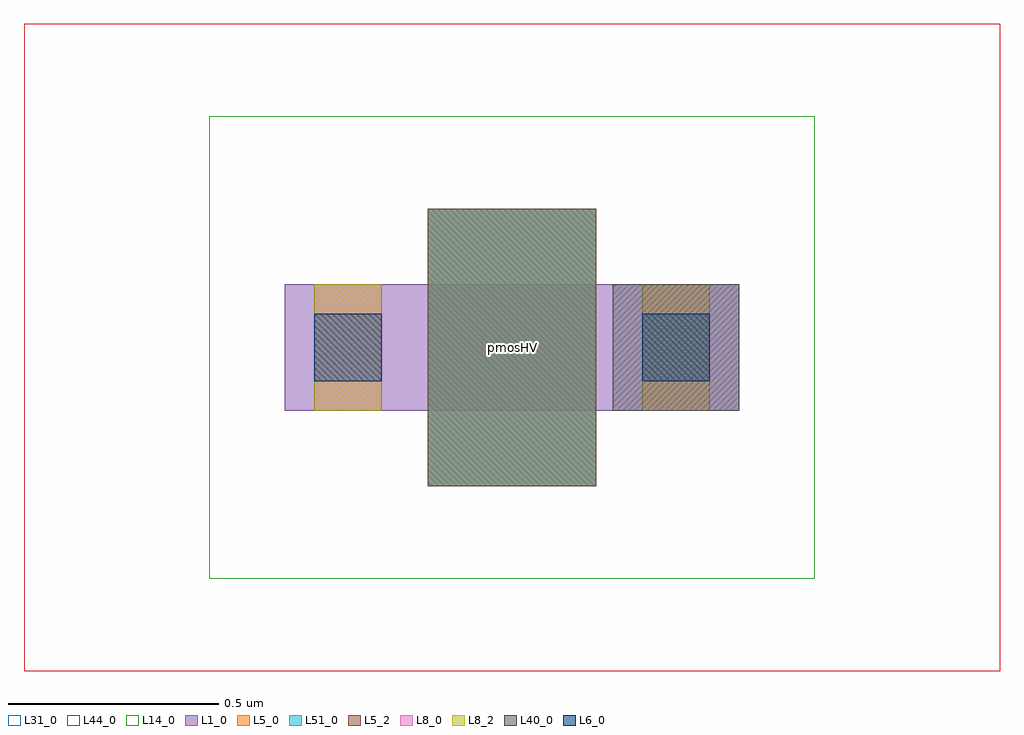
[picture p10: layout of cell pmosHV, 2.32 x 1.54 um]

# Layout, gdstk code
import gdstk
lib = gdstk.Library(unit=1e-6, precision=1e-09)
def R(c, l, rs):  # rectangles x0, y0, x1, y1
    for r in rs: c.add(gdstk.rectangle(r[:2], r[2:], *l))
L1_0 = (1, 0)
L5_0 = (5, 0)
L5_2 = (5, 2)
L6_0 = (6, 0)
L8_0 = (8, 0)
L8_2 = (8, 2)
L14_0 = (14, 0)
L31_0 = (31, 0)
L40_0 = (40, 0)
L44_0 = (44, 0)
L51_0 = (51, 0)

pmoshv = lib.new_cell('pmosHV')
R(pmoshv, L1_0, [(0,0,1.08,0.3), (0,0,1.08,0.3), (0,0,0.3,0.3), (0,0,0.3,0.3), (0.78,0,1.08,0.3), (0.78,0,1.08,0.3)])
R(pmoshv, L5_0, [(0.34,-0.18,0.74,0.48), (0.34,-0.18,0.74,0.48)])
R(pmoshv, L5_2, [(0.34,-0.18,0.74,0.48), (0.34,-0.18,0.74,0.48)])
R(pmoshv, L6_0, [(0.07,0.07,0.23,0.23), (0.07,0.07,0.23,0.23), (0.85,0.07,1.01,0.23), (0.85,0.07,1.01,0.23)])
R(pmoshv, L8_0, [(0.07,0,0.23,0.3), (0.07,0,0.23,0.3), (0.85,0,1.01,0.3), (0.85,0,1.01,0.3)])
R(pmoshv, L8_2, [(0.07,0,0.23,0.3), (0.07,0,0.23,0.3), (0.85,0,1.01,0.3), (0.85,0,1.01,0.3)])
R(pmoshv, L14_0, [(-0.18,-0.4,1.26,0.7), (-0.18,-0.4,1.26,0.7)])
R(pmoshv, L31_0, [(-0.62,-0.62,1.7,0.92), (-0.62,-0.62,1.7,0.92)])
R(pmoshv, L40_0, [(0.78,0,1.08,0.3), (0.78,0,1.08,0.3)])
R(pmoshv, L44_0, [(-0.62,-0.62,1.7,0.92), (-0.62,-0.62,1.7,0.92)])
R(pmoshv, L51_0, [(0.34,-0.18,0.74,0.48), (0.34,-0.18,0.74,0.48)])
pmoshv.add(gdstk.Label('pmosHV', (0.54,0.15), layer=63, texttype=0))
pmoshv.add(gdstk.Label('pmosHV', (0.54,0.15), layer=63, texttype=0))
pmoshv.add(gdstk.Label('pmosHV', (0.54,0.15), layer=51, texttype=0))
pmoshv.add(gdstk.Label('pmosHV', (0.54,0.15), layer=51, texttype=0))

lib.write_gds('pmosHV.gds')
